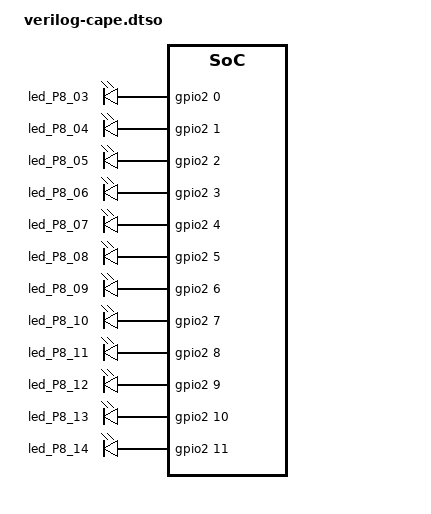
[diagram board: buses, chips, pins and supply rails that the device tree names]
// SPDX-License-Identifier: (GPL-2.0 OR MIT)
/* Copyright (c) 2023 Microchip Technology Inc */

/dts-v1/;
/plugin/;

&{/chosen} {
	overlays {
		VERILOG-CAPE-GATEWARE = "GATEWARE_GIT_VERSION";
	};
};

&{/} {

	fabric-bus@40000000 {

		cape_gpios_p8: gpio@41100000 {
			compatible = "microchip,core-gpio";
			reg = <0x0 0x41100000 0x0 0x1000>;
			clocks = <&fabric_clk3>;
			gpio-controller;
			#gpio-cells = <2>;
			ngpios=<16>;
			status = "okay";
 			interrupts = <129>, <130>, <131>, <132>,
 				     <133>, <134>, <135>, <136>,
 				     <137>, <138>, <139>, <140>,
 				     <141>, <142>, <143>, <144>;

			gpio-line-names = "P8_31", "P8_32", "", "P8_34",
							  "", "P8_36", "P8_37", "P8_38",
							  "P8_39", "P8_40", "P8_41", "P8_42",
							  "P8_43", "P8_44", "P8_45", "P8_46";
		};
	};

	leds {
		compatible = "gpio-leds";

		led_P8_03 {
			status = "okay";
			gpios = <&gpio2 0 0>;
			default-state = "on";
		};

		led_P8_04 {
			status = "okay";
			gpios = <&gpio2 1 0>;
			default-state = "on";
		};

		led_P8_05 {
			status = "okay";
			gpios = <&gpio2 2 0>;
			default-state = "on";
		};

		led_P8_06 {
			status = "okay";
			gpios = <&gpio2 3 0>;
			linux,default-trigger = "heartbeat";
			default-state = "on";
		};

		led_P8_07 {
			status = "okay";
			gpios = <&gpio2 4 0>;
			default-state = "off";
		};

		led_P8_08 {
			status = "okay";
			gpios = <&gpio2 5 0>;
			default-state = "off";
		};

		led_P8_09 {
			status = "okay";
			gpios = <&gpio2 6 0>;
			default-state = "off";
		};

		led_P8_10 {
			status = "okay";
			gpios = <&gpio2 7 0>;
			default-state = "off";
		};

		led_P8_11 {
			status = "okay";
			gpios = <&gpio2 8 0>;
			default-state = "off";
		};

		led_P8_12 {
			status = "okay";
			gpios = <&gpio2 9 0>;
			default-state = "off";
		};

		led_P8_13 {
			status = "okay";
			gpios = <&gpio2 10 0>;
			default-state = "off";
		};

		led_P8_14 {
			status = "okay";
			gpios = <&gpio2 11 0>;
			default-state = "off";
		};
	};
};

